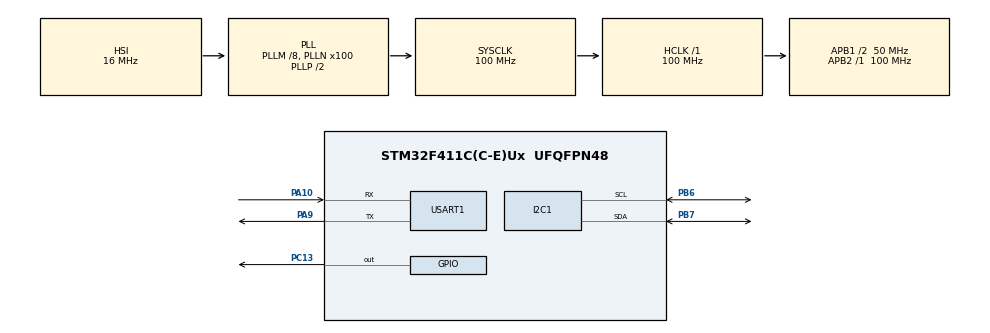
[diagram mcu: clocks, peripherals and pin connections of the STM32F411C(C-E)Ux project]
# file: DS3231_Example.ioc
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I2C1.I2C_Mode=I2C_Fast
Mcu.Family=STM32F4
Mcu.Name=STM32F411C(C-E)Ux
Mcu.Package=UFQFPN48
NVIC.PriorityGroup=NVIC_PRIORITYGROUP_4
PA10.Mode=Asynchronous
PA10.Signal=USART1_RX
PA13.Mode=Serial_Wire
PA13.Signal=SYS_JTMS-SWDIO
PA14.Mode=Serial_Wire
PA14.Signal=SYS_JTCK-SWCLK
PA9.Mode=Asynchronous
PA9.Signal=USART1_TX
PB6.Mode=I2C
PB6.Signal=I2C1_SCL
PB7.Mode=I2C
PB7.Signal=I2C1_SDA
PC13-ANTI_TAMP.Signal=GPIO_Output
PH0\ -\ OSC_IN.Mode=HSE-External-Oscillator
PH0\ -\ OSC_IN.Signal=RCC_OSC_IN
PH1\ -\ OSC_OUT.Mode=HSE-External-Oscillator
PH1\ -\ OSC_OUT.Signal=RCC_OSC_OUT
ProjectManager.HeapSize=0x200
ProjectManager.StackSize=0x400
ProjectManager.TargetToolchain=STM32CubeIDE
RCC.48MHZClocksFreq_Value=50000000
RCC.AHBFreq_Value=100000000
RCC.APB1CLKDivider=RCC_HCLK_DIV2
RCC.APB1Freq_Value=50000000
RCC.APB1TimFreq_Value=100000000
RCC.APB2Freq_Value=100000000
RCC.APB2TimFreq_Value=100000000
RCC.CortexFreq_Value=100000000
RCC.HCLKFreq_Value=100000000
RCC.HSE_VALUE=25000000
RCC.HSI_VALUE=16000000
RCC.LSE_VALUE=32768
RCC.PLLM=8
RCC.PLLN=100
RCC.SYSCLKFreq_VALUE=100000000
RCC.SYSCLKSource=RCC_SYSCLKSOURCE_PLLCLK
RCC.VCOOutputFreq_Value=200000000
USART1.VirtualMode=VM_ASYNC
board=custom

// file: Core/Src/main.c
/* USER CODE BEGIN Header */
/**
  ******************************************************************************
  * @file           : main.c
  * @brief          : Main program body
  ******************************************************************************
  * @attention
  *
  * Copyright (c) 2026 STMicroelectronics.
  * All rights reserved.
  *
  * This software is licensed under terms that can be found in the LICENSE file
  * in the root directory of this software component.
  * If no LICENSE file comes with this software, it is provided AS-IS.
  *
  ******************************************************************************
  */
/* USER CODE END Header */
#include "main.h"

/* USER CODE BEGIN Includes */
#include "DS3231.h"
#include "ANSII_Codes.h"
#include <stdio.h>
#include <stdlib.h>
#include <string.h>
/* USER CODE END Includes */

/* USER CODE BEGIN PTD */
/* Caso de desborde del calendario: fecha de partida y la que debe marcar un tic después */
typedef struct {
	const char*   nombre;
	DS3231_Time_t inicio;
	DS3231_Time_t esperado;
} DS_Desborde_t;
/* USER CODE END PTD */

/* USER CODE BEGIN PD */
/* -- Parámetros de la batería de pruebas -- */
#define DS_SENTINEL         0xFFU      /**< Fuera de rango en todos los campos: delata lo que Get no escribió */
#define DS_MUESTRAS         5U         /**< Lecturas seguidas del test de muestras (una por segundo) */

/* Escribir los segundos reinicia el divisor interno del DS3231: el primer tic llega 1 s
 * después del SetTime. Las esperas caen a media cuenta entre tics para tolerar la deriva
 * del HSI (±1 %) con el que cuenta HAL_Delay */
#define DS_TIC_MS           1500U      /**< Espera que cubre exactamente 1 tic tras un SetTime */
#define DS_ESPERA_MS        3500U      /**< Espera del test de avance */
#define DS_AVANCE_S         3U         /**< Segundos que debe avanzar el RTC en DS_ESPERA_MS */

/* Rango de funcionamiento del sensor de temperatura interno */
#define DS_TEMP_MIN         (-40)
#define DS_TEMP_MAX         (85)
/* USER CODE END PD */

/* USER CODE BEGIN PM */
#define DS_CHECK(x)  do { if ((x) != DS3231_OK) { Error_Handler(); } } while (0)
/* Para los tests de error: la llamada debe devolver exactamente el estado esperado */
#define DS_EXPECT(x, st)  do { if ((x) != (st)) { Error_Handler(); } } while (0)

/* USER CODE END PM */

I2C_HandleTypeDef hi2c1;

UART_HandleTypeDef huart1;

/* USER CODE BEGIN PV */
DS3231_Status_t status;
/* USER CODE END PV */

void SystemClock_Config(void);
static void MX_GPIO_Init(void);
static void MX_I2C1_Init(void);
static void MX_USART1_UART_Init(void);
/* USER CODE BEGIN PFP */
static void DS3231_Centinela(void* p, size_t n);
static void DS3231_CheckSinTocar(const void* p, size_t n);
static void DS3231_CheckNoInit(void);
static void DS3231_Leer(DS3231_Time_t* t);
static void DS3231_LeerTemp(DS3231_Temp_t* t);
static uint32_t DS3231_Avance(const DS3231_Time_t* t0, const DS3231_Time_t* t1);
static void DS3231_PrintHora(const DS3231_Time_t* t);
static void DS3231_PrintTemp(const DS3231_Temp_t* t);
static void DS3231_TestSuite(void);
static void DS3231_TestPreInit(void);
static void DS3231_TestHora(void);
static void DS3231_TestMuestras(void);
static void DS3231_TestDesbordes(void);
static void DS3231_TestAlarmas(void);
static void DS3231_TestTemperatura(void);
static void DS3231_TestErrores(void);
static void DS3231_TestDeInit(void);
/* USER CODE END PFP */

int main(void)
{

  /* MCU Configuration--------------------------------------------------------*/

  /* Reset of all peripherals, Initializes the Flash interface and the Systick. */
  HAL_Init();

  /* Configure the system clock */
  SystemClock_Config();

  /* Initialize all configured peripherals */
  MX_GPIO_Init();
  MX_I2C1_Init();
  MX_USART1_UART_Init();
  /* USER CODE BEGIN 2 */
  printf(CLEAR_SCREEN CURSOR_HOME COLOR_BOLD COLOR_CYAN "DS3231 TEST" COLOR_RESET "\r\n");
  DS3231_TestPreInit();

  status = DS3231_Init(&hi2c1);
  if(status != DS3231_OK)
  {
	  Error_Handler();
  }
  else
  {
	  HAL_GPIO_WritePin(GPIOC, GPIO_PIN_13, GPIO_PIN_RESET);
  }
  /* USER CODE END 2 */

  /* Infinite loop */
  /* USER CODE BEGIN WHILE */
  while (1)
  {
	  DS3231_TestSuite();
    /* USER CODE END WHILE */

  }
}

void SystemClock_Config(void)
{
  RCC_OscInitTypeDef RCC_OscInitStruct = {0};
  RCC_ClkInitTypeDef RCC_ClkInitStruct = {0};

  /** Configure the main internal regulator output voltage
  */
  __HAL_RCC_PWR_CLK_ENABLE();
  __HAL_PWR_VOLTAGESCALING_CONFIG(PWR_REGULATOR_VOLTAGE_SCALE1);

  /** Initializes the RCC Oscillators according to the specified parameters
  * in the RCC_OscInitTypeDef structure.
  */
  RCC_OscInitStruct.OscillatorType = RCC_OSCILLATORTYPE_HSI;
  RCC_OscInitStruct.HSIState = RCC_HSI_ON;
  RCC_OscInitStruct.HSICalibrationValue = RCC_HSICALIBRATION_DEFAULT;
  RCC_OscInitStruct.PLL.PLLState = RCC_PLL_ON;
  RCC_OscInitStruct.PLL.PLLSource = RCC_PLLSOURCE_HSI;
  RCC_OscInitStruct.PLL.PLLM = 8;
  RCC_OscInitStruct.PLL.PLLN = 100;
  RCC_OscInitStruct.PLL.PLLP = RCC_PLLP_DIV2;
  RCC_OscInitStruct.PLL.PLLQ = 4;
  if (HAL_RCC_OscConfig(&RCC_OscInitStruct) != HAL_OK)
  {
    Error_Handler();
  }

  /** Initializes the CPU, AHB and APB buses clocks
  */
  RCC_ClkInitStruct.ClockType = RCC_CLOCKTYPE_HCLK|RCC_CLOCKTYPE_SYSCLK
                              |RCC_CLOCKTYPE_PCLK1|RCC_CLOCKTYPE_PCLK2;
  RCC_ClkInitStruct.SYSCLKSource = RCC_SYSCLKSOURCE_PLLCLK;
  RCC_ClkInitStruct.AHBCLKDivider = RCC_SYSCLK_DIV1;
  RCC_ClkInitStruct.APB1CLKDivider = RCC_HCLK_DIV2;
  RCC_ClkInitStruct.APB2CLKDivider = RCC_HCLK_DIV1;

  if (HAL_RCC_ClockConfig(&RCC_ClkInitStruct, FLASH_LATENCY_3) != HAL_OK)
  {
    Error_Handler();
  }
}

static void MX_I2C1_Init(void)
{

  hi2c1.Instance = I2C1;
  hi2c1.Init.ClockSpeed = 400000;
  hi2c1.Init.DutyCycle = I2C_DUTYCYCLE_2;
  hi2c1.Init.OwnAddress1 = 0;
  hi2c1.Init.AddressingMode = I2C_ADDRESSINGMODE_7BIT;
  hi2c1.Init.DualAddressMode = I2C_DUALADDRESS_DISABLE;
  hi2c1.Init.OwnAddress2 = 0;
  hi2c1.Init.GeneralCallMode = I2C_GENERALCALL_DISABLE;
  hi2c1.Init.NoStretchMode = I2C_NOSTRETCH_DISABLE;
  if (HAL_I2C_Init(&hi2c1) != HAL_OK)
  {
    Error_Handler();
  }

}

static void MX_USART1_UART_Init(void)
{

  huart1.Instance = USART1;
  huart1.Init.BaudRate = 115200;
  huart1.Init.WordLength = UART_WORDLENGTH_8B;
  huart1.Init.StopBits = UART_STOPBITS_1;
  huart1.Init.Parity = UART_PARITY_NONE;
  huart1.Init.Mode = UART_MODE_TX_RX;
  huart1.Init.HwFlowCtl = UART_HWCONTROL_NONE;
  huart1.Init.OverSampling = UART_OVERSAMPLING_16;
  if (HAL_UART_Init(&huart1) != HAL_OK)
  {
    Error_Handler();
  }

}

static void MX_GPIO_Init(void)
{
  GPIO_InitTypeDef GPIO_InitStruct = {0};

  /* GPIO Ports Clock Enable */
  __HAL_RCC_GPIOC_CLK_ENABLE();
  __HAL_RCC_GPIOH_CLK_ENABLE();
  __HAL_RCC_GPIOA_CLK_ENABLE();
  __HAL_RCC_GPIOB_CLK_ENABLE();

  /*Configure GPIO pin Output Level */
  HAL_GPIO_WritePin(GPIOC, GPIO_PIN_13, GPIO_PIN_RESET);

  /*Configure GPIO pin : PC13 */
  GPIO_InitStruct.Pin = GPIO_PIN_13;
  GPIO_InitStruct.Mode = GPIO_MODE_OUTPUT_PP;
  GPIO_InitStruct.Pull = GPIO_NOPULL;
  GPIO_InitStruct.Speed = GPIO_SPEED_FREQ_LOW;
  HAL_GPIO_Init(GPIOC, &GPIO_InitStruct);

}

/* USER CODE BEGIN 4 */

/* printf por USART1 (PA9): syscalls.c redirige _write a esta función débil */
int __io_putchar(int ch)
{
	uint8_t c = (uint8_t)ch;
	HAL_UART_Transmit(&huart1, &c, 1, HAL_MAX_DELAY);
	return ch;
}

/* Rellena una estructura de salida con el centinela */
static void DS3231_Centinela(void* p, size_t n)
{
	memset(p, DS_SENTINEL, n);
}

/* Tras una llamada rechazada la estructura de salida debe seguir intacta */
static void DS3231_CheckSinTocar(const void* p, size_t n)
{
	const uint8_t* b = (const uint8_t*)p;

	for (size_t i = 0; i < n; i++)
	{
		if (b[i] != DS_SENTINEL)
		{
			Error_Handler();
		}
	}
}

/* Sin inicializar: todo devuelve NOT_INITIALIZED sin tocar el bus ni las estructuras */
static void DS3231_CheckNoInit(void)
{
	DS3231_Time_t   t;
	DS3231_Alarm1_t a1;
	DS3231_Alarm2_t a2;
	DS3231_Temp_t   tc;

	DS3231_Centinela(&t, sizeof(t));
	DS3231_Centinela(&a1, sizeof(a1));
	DS3231_Centinela(&a2, sizeof(a2));
	DS3231_Centinela(&tc, sizeof(tc));

	DS_EXPECT(DS3231_SetTime(&t), DS3231_NOT_INITIALIZED);
	DS_EXPECT(DS3231_GetTime(&t), DS3231_NOT_INITIALIZED);
	DS_EXPECT(DS3231_SetAlarm1(&a1), DS3231_NOT_INITIALIZED);
	DS_EXPECT(DS3231_GetAlarm1(&a1), DS3231_NOT_INITIALIZED);
	DS_EXPECT(DS3231_SetAlarm2(&a2), DS3231_NOT_INITIALIZED);
	DS_EXPECT(DS3231_GetAlarm2(&a2), DS3231_NOT_INITIALIZED);
	DS_EXPECT(DS3231_GetTemperature(&tc), DS3231_NOT_INITIALIZED);

	DS3231_CheckSinTocar(&t, sizeof(t));
	DS3231_CheckSinTocar(&a1, sizeof(a1));
	DS3231_CheckSinTocar(&a2, sizeof(a2));
	DS3231_CheckSinTocar(&tc, sizeof(tc));
}

/* Lectura de hora: debe ir bien y dar una fecha válida en todos los campos
 * (el centinela 0xFF está fuera de rango en cualquiera de ellos) */
static void DS3231_Leer(DS3231_Time_t* t)
{
	DS3231_Centinela(t, sizeof(*t));
	DS_CHECK(DS3231_GetTime(t));

	if (t->seconds > 59U || t->minutes > 59U || t->hour > 23U ||
		t->dayofmonth < 1U || t->dayofmonth > 31U ||
		t->month < 1U || t->month > 12U || t->year > 99U)
	{
		Error_Handler();
	}
}

/* Lectura de temperatura: rango del chip, fracción en cuartos de grado y raw coherente.
 * Según el datasheet el MSB es la parte entera en complemento a dos y la fracción
 * siempre suma (-6.25 C = -7 + 0.75), así que raw = integer * 100 + fraction */
static void DS3231_LeerTemp(DS3231_Temp_t* t)
{
	DS3231_Centinela(t, sizeof(*t));
	DS_CHECK(DS3231_GetTemperature(t));

	if (t->integer < DS_TEMP_MIN || t->integer > DS_TEMP_MAX ||
		(t->fraction % 25U) != 0U || t->fraction > 75U ||
		t->raw != (int16_t)(t->integer * 100 + t->fraction))
	{
		Error_Handler();
	}
}

/* Segundos que avanzó el reloj entre dos lecturas (módulo un día) */
static uint32_t DS3231_Avance(const DS3231_Time_t* t0, const DS3231_Time_t* t1)
{
	const uint32_t s0 = t0->hour * 3600U + t0->minutes * 60U + t0->seconds;
	const uint32_t s1 = t1->hour * 3600U + t1->minutes * 60U + t1->seconds;

	return (s1 + 86400U - s0) % 86400U;
}

static void DS3231_PrintHora(const DS3231_Time_t* t)
{
	printf("%02d:%02d:%02d %02d-%02d-20%02d ",
		   t->hour, t->minutes, t->seconds, t->dayofmonth, t->month, t->year);
}

/* El proyecto no enlaza -u _printf_float: raw ya viene en centésimas */
static void DS3231_PrintTemp(const DS3231_Temp_t* t)
{
	printf("T=%s%d.%02dC ", (t->raw < 0) ? "-" : "", abs(t->raw) / 100, abs(t->raw) % 100);
}

static void DS3231_TestSuite(void)
{
	DS3231_TestHora();
	HAL_Delay(2000);

	DS3231_TestMuestras();
	HAL_Delay(2000);

	DS3231_TestDesbordes();
	HAL_Delay(2000);

	DS3231_TestAlarmas();
	HAL_Delay(2000);

	DS3231_TestTemperatura();
	HAL_Delay(2000);

	DS3231_TestErrores();
	HAL_Delay(2000);

	DS3231_TestDeInit();
	HAL_Delay(2000);
}

static void DS3231_TestPreInit(void)
{
	/* -- Antes de Init: todo devuelve NOT_INITIALIZED sin tocar el bus ni las estructuras -- */
	DS3231_CheckNoInit();

	/* DeInit sobre un driver sin inicializar es inofensivo */
	DS_CHECK(DS3231_DeInit());
}

static void DS3231_TestHora(void)
{
	DS3231_Time_t ref = { .seconds = 56, .minutes = 34, .hour = 12, .dayofmonth = 7, .month = 11, .year = 26 };
	DS3231_Time_t t0, t1;

	/* -- SetTime + GetTime: la lectura inmediata devuelve exactamente lo escrito -- */
	printf(COLOR_YELLOW "[Hora]" COLOR_RESET "\r\n");
	DS_CHECK(DS3231_SetTime(&ref));
	DS3231_Leer(&t0);
	if (memcmp(&t0, &ref, sizeof(ref)) != 0)
	{
		Error_Handler();
	}
	DS3231_PrintHora(&t0);
	printf("\r\n");

	/* -- El oscilador corre: en DS_ESPERA_MS el reloj avanza exactamente DS_AVANCE_S segundos.
	 *    Si falla por uno, revisar la deriva del HSI antes que el RTC -- */
	HAL_Delay(DS_ESPERA_MS);
	DS3231_Leer(&t1);
	if (DS3231_Avance(&t0, &t1) != DS_AVANCE_S)
	{
		Error_Handler();
	}
	DS3231_PrintHora(&t1);
	printf("\r\n");
}

static void DS3231_TestMuestras(void)
{
	DS3231_Time_t t;
	DS3231_Temp_t tc;

	/* -- Hora y temperatura una vez por segundo: ninguna lectura debe fallar -- */
	printf(COLOR_YELLOW "[Muestras]" COLOR_RESET "\r\n");
	for (uint8_t i = 1; i <= DS_MUESTRAS; i++)
	{
		DS3231_Leer(&t);
		DS3231_LeerTemp(&tc);
		printf("%u/%u  ", i, DS_MUESTRAS);
		DS3231_PrintHora(&t);
		DS3231_PrintTemp(&tc);
		printf("\r\n");
		HAL_Delay(1000);
	}
}

static void DS3231_TestDesbordes(void)
{
	/* No se prueba 31-12-99 -> 01-01-00: el DS3231 activa el bit Century (bit 7 del mes)
	 * y GetTime no lo enmascara, devolvería mes 81 */
	static const DS_Desborde_t casos[] = {
		{ "Fin de anio",
		  { .seconds = 59, .minutes = 59, .hour = 23, .dayofmonth = 31, .month = 12, .year = 25 },
		  { .seconds = 0,  .minutes = 0,  .hour = 0,  .dayofmonth = 1,  .month = 1,  .year = 26 } },
		{ "Bisiesto",
		  { .seconds = 59, .minutes = 59, .hour = 23, .dayofmonth = 28, .month = 2,  .year = 24 },
		  { .seconds = 0,  .minutes = 0,  .hour = 0,  .dayofmonth = 29, .month = 2,  .year = 24 } },
		{ "No bisiesto",
		  { .seconds = 59, .minutes = 59, .hour = 23, .dayofmonth = 28, .month = 2,  .year = 26 },
		  { .seconds = 0,  .minutes = 0,  .hour = 0,  .dayofmonth = 1,  .month = 3,  .year = 26 } },
		{ "Mes de 30",
		  { .seconds = 59, .minutes = 59, .hour = 23, .dayofmonth = 30, .month = 4,  .year = 26 },
		  { .seconds = 0,  .minutes = 0,  .hour = 0,  .dayofmonth = 1,  .month = 5,  .year = 26 } },
	};
	DS3231_Time_t inicio, t;

	/* -- Calendario: un tic después de las 23:59:59 cambian todos los campos a la vez -- */
	printf(COLOR_YELLOW "[Desbordes]" COLOR_RESET "\r\n");
	for (uint8_t i = 0; i < sizeof(casos) / sizeof(casos[0]); i++)
	{
		inicio = casos[i].inicio;
		DS_CHECK(DS3231_SetTime(&inicio));
		HAL_Delay(DS_TIC_MS);
		DS3231_Leer(&t);
		if (memcmp(&t, &casos[i].esperado, sizeof(t)) != 0)
		{
			Error_Handler();
		}
		printf("%-12s", casos[i].nombre);
		DS3231_PrintHora(&t);
		printf("\r\n");
	}
}

static void DS3231_TestAlarmas(void)
{
	DS3231_Alarm1_t a1 = { .seconds = 59, .minutes = 59, .hour = 23 };
	DS3231_Alarm2_t a2 = { .minutes = 45, .hour = 9 };
	DS3231_Alarm1_t l1;
	DS3231_Alarm2_t l2;
	DS3231_Time_t   t0, t1;

	/* -- Escribir y releer cada alarma: la lectura coincide campo a campo -- */
	printf(COLOR_YELLOW "[Alarmas]" COLOR_RESET "\r\n");
	DS3231_Leer(&t0);

	DS_CHECK(DS3231_SetAlarm1(&a1));
	DS3231_Centinela(&l1, sizeof(l1));
	DS_CHECK(DS3231_GetAlarm1(&l1));
	if (memcmp(&l1, &a1, sizeof(a1)) != 0)
	{
		Error_Handler();
	}

	DS_CHECK(DS3231_SetAlarm2(&a2));
	DS3231_Centinela(&l2, sizeof(l2));
	DS_CHECK(DS3231_GetAlarm2(&l2));
	if (memcmp(&l2, &a2, sizeof(a2)) != 0)
	{
		Error_Handler();
	}

	/* -- Las alarmas van en registros aparte (0x07 y 0x0B): la fecha no cambia y la hora
	 *    solo avanza lo que tardaron las transacciones -- */
	DS3231_Leer(&t1);
	if (t1.dayofmonth != t0.dayofmonth || t1.month != t0.month || t1.year != t0.year ||
		DS3231_Avance(&t0, &t1) > 1U)
	{
		Error_Handler();
	}
	printf("A1=%02d:%02d:%02d A2=%02d:%02d\r\n", l1.hour, l1.minutes, l1.seconds, l2.hour, l2.minutes);
}

static void DS3231_TestTemperatura(void)
{
	DS3231_Temp_t tc;

	/* -- Sensor interno: rango, fracción en cuartos y raw coherente. Se convierte cada 64 s,
	 *    así que lecturas seguidas suelen repetirse -- */
	printf(COLOR_YELLOW "[Temperatura]" COLOR_RESET "\r\n");
	DS3231_LeerTemp(&tc);
	DS3231_PrintTemp(&tc);
	printf("(integer=%d fraction=%u)\r\n", tc.integer, tc.fraction);
}

static void DS3231_TestErrores(void)
{
	DS3231_Time_t t;

	/* -- Punteros NULL: se rechazan con INVALID_PARAM -- */
	printf(COLOR_YELLOW "[Errores]" COLOR_RESET "\r\n");
	DS_EXPECT(DS3231_SetTime(NULL), DS3231_INVALID_PARAM);
	DS_EXPECT(DS3231_GetTime(NULL), DS3231_INVALID_PARAM);
	DS_EXPECT(DS3231_SetAlarm1(NULL), DS3231_INVALID_PARAM);
	DS_EXPECT(DS3231_GetAlarm1(NULL), DS3231_INVALID_PARAM);
	DS_EXPECT(DS3231_SetAlarm2(NULL), DS3231_INVALID_PARAM);
	DS_EXPECT(DS3231_GetAlarm2(NULL), DS3231_INVALID_PARAM);
	DS_EXPECT(DS3231_GetTemperature(NULL), DS3231_INVALID_PARAM);

	/* -- Init con handle NULL: la librería devuelve ERROR (no INVALID_PARAM) antes de tocar
	 *    el estado, el driver sigue funcionando -- */
	DS_EXPECT(DS3231_Init(NULL), DS3231_ERROR);
	DS3231_Leer(&t);
	printf(COLOR_GREEN "Errores OK" COLOR_RESET "\r\n");
}

static void DS3231_TestDeInit(void)
{
	DS3231_Time_t t0, t1;

	/* -- DeInit libera el handle: las llamadas posteriores devuelven NOT_INITIALIZED
	 *    sin tocar el bus ni las estructuras. Repetirlo sigue devolviendo OK -- */
	printf(COLOR_YELLOW "[DeInit]" COLOR_RESET "\r\n");
	DS3231_Leer(&t0);
	DS_CHECK(DS3231_DeInit());
	DS_CHECK(DS3231_DeInit());
	DS3231_CheckNoInit();
	HAL_Delay(DS_TIC_MS);

	/* -- Re-Init: el driver arranca de nuevo y el chip siguió contando durante el DeInit -- */
	DS_CHECK(DS3231_Init(&hi2c1));
	DS3231_Leer(&t1);
	if (DS3231_Avance(&t0, &t1) == 0U)
	{
		Error_Handler();
	}
	printf(COLOR_GREEN "Re-Init OK" COLOR_RESET "\r\n");
}

/* USER CODE END 4 */

void Error_Handler(void)
{
  /* USER CODE BEGIN Error_Handler_Debug */
  /* User can add his own implementation to report the HAL error return state */
  /* Si la UART aún no está inicializada, HAL_UART_Transmit devuelve BUSY sin bloquear */
  printf(COLOR_BOLD COLOR_RED "\r\nERROR: prueba fallida" COLOR_RESET "\r\n");
  while (1)
  {
	  HAL_GPIO_TogglePin(GPIOC, GPIO_PIN_13);
	  HAL_Delay(200);
  }
  /* USER CODE END Error_Handler_Debug */
}
